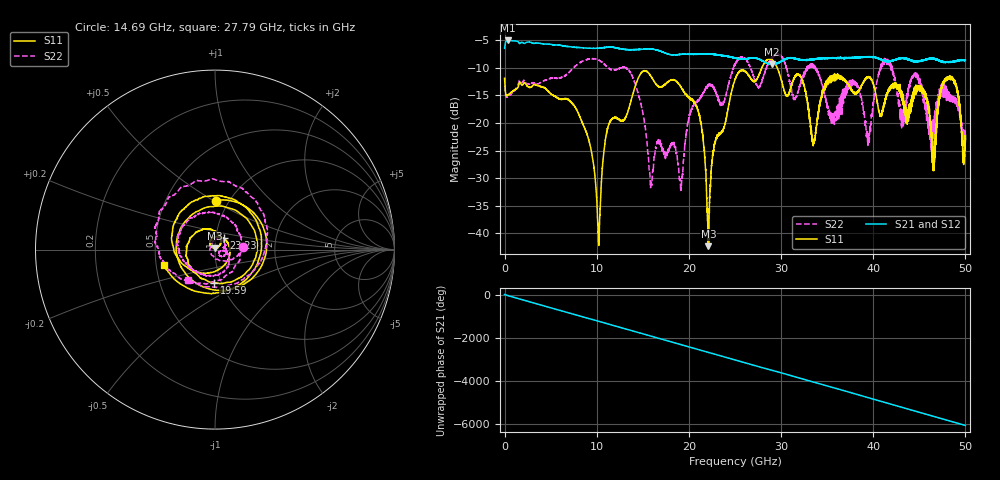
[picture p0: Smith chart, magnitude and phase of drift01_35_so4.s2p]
!Created with skrf (http://scikit-rf.org).
# Hz S RI R 50.0
!freq ReS11 ImS11 ReS21 ImS21 ReS12 ImS12 ReS22 ImS22
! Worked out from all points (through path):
!   10001 points, 300 kHz to 50 GHz, reference 50 ohm
!   highest |S21| = -5.05 dB at 325.3 MHz (marker M1); lowest = -9.4 dB at 29.03 GHz (marker M2)
!   group delay of S21, straight-line fit = 336 ps
!   lowest |S11| = -42.3 dB at 22.11 GHz (marker M3), VSWR 1.02, Z = 49.8 + j0.726 ohm
!   |S11| at or under -10 dB: start of sweep to 27.92 GHz; 29.59 GHz to end of sweep
!   |S22| runs from -32.2 to -7.5 dB; largest |S21 - S12| = 0.012
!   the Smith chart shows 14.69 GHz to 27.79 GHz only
!   S11 on the Smith chart (normalised r, x): 14.69 GHz: 0.87, +0.51; 19.59 GHz: 0.93, -0.35; 23.23 GHz: 1.09, +0.14; 27.79 GHz: 0.55, -0.10
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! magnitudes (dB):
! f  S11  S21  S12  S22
! 300 kHz  -11.9  -6.5  -6.5  -11.8
! 325.3 MHz  -15.0  -5.0  -5.1  -15.3
! 8.335 GHz  -19.6  -6.4  -6.4  -8.9
! 10.21 GHz  -41.9  -6.4  -6.4  -8.6
! 11.24 GHz  -20.6  -6.3  -6.2  -10.0
! 14.69 GHz  -11.3  -6.7  -6.7  -15.9
! 15.88 GHz  -11.5  -6.6  -6.6  -31.0
! 16.67 GHz  -13.4  -6.9  -6.9  -23.2
! 19.59 GHz  -14.7  -7.5  -7.5  -23.6
! 21.22 GHz  -19.3  -7.5  -7.5  -15.6
! 22.11 GHz  -42.3  -7.5  -7.5  -13.2
! 23.23 GHz  -22.0  -7.7  -7.7  -15.8
! 25 GHz  -12.1  -8.2  -8.3  -9.5
! 27.79 GHz  -10.5  -8.6  -8.6  -12.9
! 29.03 GHz  -8.6  -9.4  -9.4  -8.2
! 33.34 GHz  -22.1  -8.5  -8.5  -9.6
! 39.47 GHz  -11.7  -8.0  -8.0  -22.4
! 41.67 GHz  -13.8  -8.8  -8.8  -8.9
! 45.36 GHz  -13.9  -8.7  -8.7  -14.5
! 46.56 GHz  -25.0  -8.3  -8.3  -20.6
! 48.52 GHz  -11.7  -8.9  -9.0  -15.2
! 50 GHz  -23.3  -8.6  -8.7  -22.7
